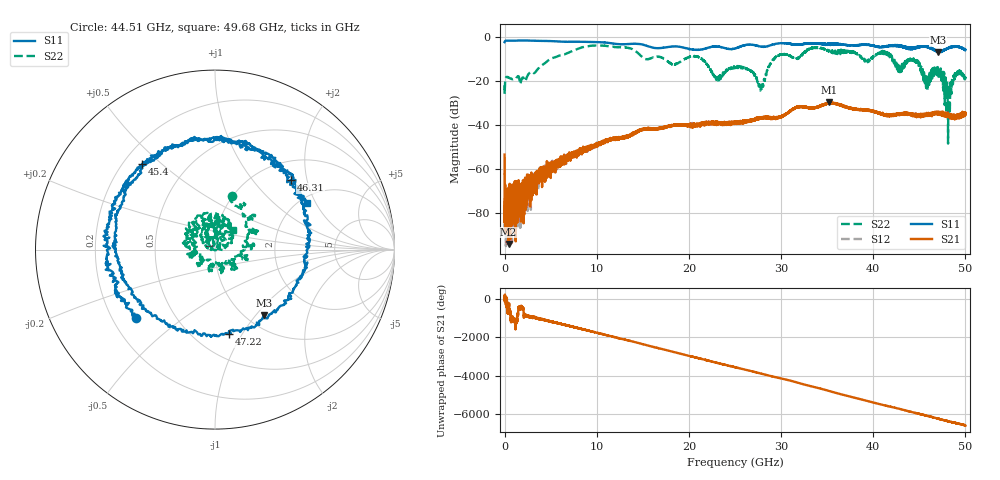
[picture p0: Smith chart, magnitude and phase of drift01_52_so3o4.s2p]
!Created with skrf (http://scikit-rf.org).
# Hz S RI R 50.0
!freq ReS11 ImS11 ReS21 ImS21 ReS12 ImS12 ReS22 ImS22
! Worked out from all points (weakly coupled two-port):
!   10001 points, 300 kHz to 50 GHz, reference 50 ohm
!   highest |S21| = -29.53 dB at 35.2 GHz (marker M1); lowest = -94.0 dB at 425.3 MHz (marker M2)
!   lowest |S11| = -6.8 dB at 47.04 GHz (marker M3), VSWR 2.68, Z = 59.7 - j55.2 ohm
!   |S11| at or under -10 dB: nowhere
!   |S22| runs from -48.3 to -3.6 dB; largest |S21 - S12| = 0.0037
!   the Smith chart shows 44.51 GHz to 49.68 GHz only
!   S11 on the Smith chart (normalised r, x): 44.51 GHz: 0.30, -0.34; 45.4 GHz: 0.28, +0.43; 46.31 GHz: 1.39, +1.60; 47.22 GHz: 0.72, -0.88; 49.68 GHz: 2.20, +1.71
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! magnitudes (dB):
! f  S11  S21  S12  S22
! 300 kHz  -2.1  -53.3  -61.6  -21.7
! 255.3 MHz  -1.4  -74.7  -82.6  -18.0
! 425.3 MHz  -1.4  -94.0  -75.8  -18.3
! 8.335 GHz  -1.9  -51.3  -52.5  -4.6
! 16.67 GHz  -4.9  -41.7  -41.6  -8.7
! 20.95 GHz  -5.6  -40.0  -39.6  -8.7
! 23.08 GHz  -4.1  -39.7  -38.9  -18.5
! 25 GHz  -5.0  -39.2  -39.0  -13.8
! 27.83 GHz  -4.1  -36.4  -36.7  -22.3
! 29.47 GHz  -2.9  -36.8  -36.5  -8.9
! 33.34 GHz  -2.6  -32.1  -32.0  -4.7
! 35.2 GHz  -3.1  -29.5  -29.9  -6.0
! 41.67 GHz  -3.9  -35.4  -35.2  -7.4
! 42.82 GHz  -3.7  -35.0  -35.1  -12.9
! 44.51 GHz  -4.7  -35.2  -35.2  -10.2
! 45.4 GHz  -4.1  -35.5  -35.6  -16.5
! 46.31 GHz  -4.8  -34.7  -34.9  -15.4
! 47.04 GHz  -6.8  -34.8  -34.5  -15.9
! 47.22 GHz  -6.5  -34.8  -34.6  -17.3
! 48.14 GHz  -4.8  -34.7  -35.7  -33.7
! 49.68 GHz  -4.8  -35.7  -34.6  -16.5
! 50 GHz  -5.6  -35.1  -35.5  -18.6
